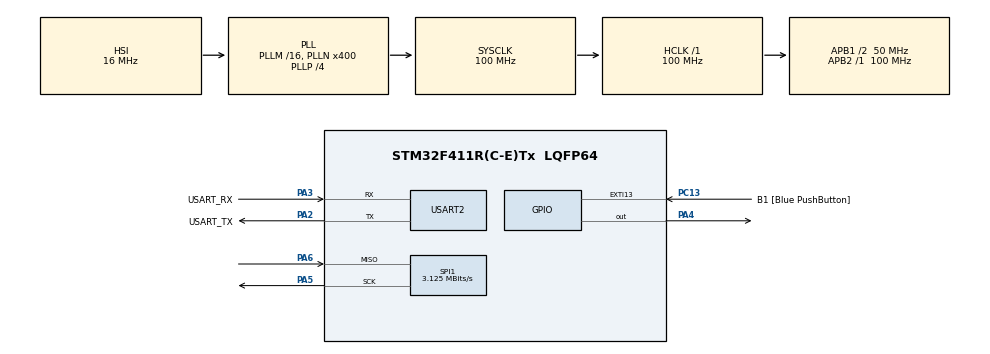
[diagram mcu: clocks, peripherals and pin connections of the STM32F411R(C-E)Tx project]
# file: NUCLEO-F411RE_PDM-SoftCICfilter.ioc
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Dma.Request0=SPI1_RX
Dma.SPI1_RX.0.Direction=DMA_PERIPH_TO_MEMORY
Dma.SPI1_RX.0.FIFOMode=DMA_FIFOMODE_DISABLE
Dma.SPI1_RX.0.Instance=DMA2_Stream0
Dma.SPI1_RX.0.MemDataAlignment=DMA_MDATAALIGN_BYTE
Dma.SPI1_RX.0.MemInc=DMA_MINC_ENABLE
Dma.SPI1_RX.0.Mode=DMA_CIRCULAR
Dma.SPI1_RX.0.PeriphDataAlignment=DMA_PDATAALIGN_BYTE
Dma.SPI1_RX.0.PeriphInc=DMA_PINC_DISABLE
Dma.SPI1_RX.0.Priority=DMA_PRIORITY_VERY_HIGH
Mcu.Family=STM32F4
Mcu.Name=STM32F411R(C-E)Tx
Mcu.Package=LQFP64
NVIC.DMA2_Stream0_IRQn=true\:0\:0\:false\:false\:true
NVIC.PriorityGroup=NVIC_PRIORITYGROUP_0
NVIC.SPI1_IRQn=true\:0\:0\:false\:false\:true
PA13.GPIO_Label=TMS
PA13.Signal=SYS_JTMS-SWDIO
PA14.GPIO_Label=TCK
PA14.Signal=SYS_JTCK-SWCLK
PA2.GPIO_Label=USART_TX
PA2.Mode=Asynchronous
PA2.Signal=USART2_TX
PA3.GPIO_Label=USART_RX
PA3.Mode=Asynchronous
PA3.Signal=USART2_RX
PA4.GPIO_PuPd=GPIO_PULLDOWN
PA4.Signal=GPIO_Output
PA5.Mode=RX_Only_Simplex_Unidirect_Master
PA5.Signal=SPI1_SCK
PA6.Mode=RX_Only_Simplex_Unidirect_Master
PA6.Signal=SPI1_MISO
PB3.GPIO_Label=SWO
PB3.Signal=SYS_JTDO-SWO
PC13-ANTI_TAMP.GPIO_Label=B1 [Blue PushButton]
PC13-ANTI_TAMP.GPIO_ModeDefaultEXTI=GPIO_MODE_IT_FALLING
PC13-ANTI_TAMP.Signal=GPXTI13
PC14-OSC32_IN.Signal=RCC_OSC32_IN
PC15-OSC32_OUT.Signal=RCC_OSC32_OUT
PH0\ -\ OSC_IN.Signal=RCC_OSC_IN
PH1\ -\ OSC_OUT.Signal=RCC_OSC_OUT
ProjectManager.HeapSize=0x200
ProjectManager.StackSize=0x400
ProjectManager.TargetToolchain=SW4STM32
RCC.48MHZClocksFreq_Value=100000000
RCC.AHBFreq_Value=100000000
RCC.APB1CLKDivider=RCC_HCLK_DIV2
RCC.APB1Freq_Value=50000000
RCC.APB1TimFreq_Value=100000000
RCC.APB2Freq_Value=100000000
RCC.APB2TimFreq_Value=100000000
RCC.CortexFreq_Value=100000000
RCC.FLatency-AdvancedSettings=FLASH_LATENCY_3
RCC.HCLKFreq_Value=100000000
RCC.HSE_VALUE=8000000
RCC.HSI_VALUE=16000000
RCC.LSE_VALUE=32768
RCC.PLLN=400
RCC.PLLP=RCC_PLLP_DIV4
RCC.PLLSourceVirtual=RCC_PLLSOURCE_HSI
RCC.SYSCLKFreq_VALUE=100000000
RCC.SYSCLKSource=RCC_SYSCLKSOURCE_PLLCLK
RCC.VCOOutputFreq_Value=400000000
SPI1.BaudRatePrescaler=SPI_BAUDRATEPRESCALER_32
SPI1.CalculateBaudRate=3.125 MBits/s
SPI1.Direction=SPI_DIRECTION_2LINES_RXONLY
SPI1.FirstBit=SPI_FIRSTBIT_LSB
SPI1.Mode=SPI_MODE_MASTER
SPI1.VirtualType=VM_MASTER
USART2.VirtualMode=VM_ASYNC
board=NUCLEO-F411RE

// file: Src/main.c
/**
  ******************************************************************************
  * File Name          : main.c
  * Description        : Main program body
  ******************************************************************************
  ** This notice applies to any and all portions of this file
  * that are not between comment pairs USER CODE BEGIN and
  * USER CODE END. Other portions of this file, whether
  * inserted by the user or by software development tools
  * are owned by their respective copyright owners.
  *
  * COPYRIGHT(c) 2017 STMicroelectronics
  *
  * Redistribution and use in source and binary forms, with or without modification,
  * are permitted provided that the following conditions are met:
  *   1. Redistributions of source code must retain the above copyright notice,
  *      this list of conditions and the following disclaimer.
  *   2. Redistributions in binary form must reproduce the above copyright notice,
  *      this list of conditions and the following disclaimer in the documentation
  *      and/or other materials provided with the distribution.
  *   3. Neither the name of STMicroelectronics nor the names of its contributors
  *      may be used to endorse or promote products derived from this software
  *      without specific prior written permission.
  *
  * THIS SOFTWARE IS PROVIDED BY THE COPYRIGHT HOLDERS AND CONTRIBUTORS "AS IS"
  * AND ANY EXPRESS OR IMPLIED WARRANTIES, INCLUDING, BUT NOT LIMITED TO, THE
  * IMPLIED WARRANTIES OF MERCHANTABILITY AND FITNESS FOR A PARTICULAR PURPOSE ARE
  * DISCLAIMED. IN NO EVENT SHALL THE COPYRIGHT HOLDER OR CONTRIBUTORS BE LIABLE
  * FOR ANY DIRECT, INDIRECT, INCIDENTAL, SPECIAL, EXEMPLARY, OR CONSEQUENTIAL
  * DAMAGES (INCLUDING, BUT NOT LIMITED TO, PROCUREMENT OF SUBSTITUTE GOODS OR
  * SERVICES; LOSS OF USE, DATA, OR PROFITS; OR BUSINESS INTERRUPTION) HOWEVER
  * CAUSED AND ON ANY THEORY OF LIABILITY, WHETHER IN CONTRACT, STRICT LIABILITY,
  * OR TORT (INCLUDING NEGLIGENCE OR OTHERWISE) ARISING IN ANY WAY OUT OF THE USE
  * OF THIS SOFTWARE, EVEN IF ADVISED OF THE POSSIBILITY OF SUCH DAMAGE.
  *
  ******************************************************************************
  */
#include "main.h"
#include "stm32f4xx_hal.h"
#include "dma.h"
#include "spi.h"
#include "usart.h"
#include "gpio.h"

/* USER CODE BEGIN Includes */
#include "math.h"
#include "arm_math.h"
/* USER CODE END Includes */

/* USER CODE BEGIN PV */
/* Private variables ---------------------------------------------------------*/
#define FFT_AC_COUPLING_HZ  1000.0f

arm_rfft_fast_instance_f32 S;
float FFT_SampleRate;
int32_t FFT_inp_int32[PDM_SAMPLE_SIZE] = {0};
float FFT_inp[PDM_SAMPLE_SIZE] = {0.0f};
float FFT_oup[PDM_SAMPLE_SIZE] = {0.0f};
float FFT_mag[PDM_SAMPLE_SIZE/2] = {0.0f};
float FFT_dB[PDM_SAMPLE_SIZE/2] = {0.0f};
float FFT_frq[PDM_SAMPLE_SIZE/2] = {0.0f};
float FFT_window[PDM_SAMPLE_SIZE] = {0.0f};
/* USER CODE END PV */

void SystemClock_Config(void);

/* USER CODE BEGIN PFP */
/* Private function prototypes -----------------------------------------------*/

/* USER CODE END PFP */

int main(void)
{

  /* MCU Configuration----------------------------------------------------------*/

  /* Reset of all peripherals, Initializes the Flash interface and the Systick. */
  HAL_Init();

  /* Configure the system clock */
  SystemClock_Config();

  /* Initialize all configured peripherals */
  MX_GPIO_Init();
  MX_DMA_Init();
  MX_SPI1_Init();
  MX_USART2_UART_Init();

  /* USER CODE BEGIN 2 */
    printf("\r\n***** Program start *****\r\n");

    // Initialize
    needs_CopyPDMbits = false;
    initializeCicFilterStruct(/* Order = */3, DECIMATION_M, &PDM_st);
    startPDM();
    HAL_NVIC_DisableIRQ(DMA2_Stream0_IRQn);
    HAL_NVIC_DisableIRQ(SPI1_IRQn);

    // FFT init
    float SPI1_BaudRate = (float)SystemCoreClock / 1.0f / 32.0f;
    FFT_SampleRate = SPI1_BaudRate / DECIMATION_M;

    // Hanning window
    const float tmp = 2.0f * M_PI / (float) PDM_SAMPLE_SIZE;
    for (uint32_t i = 0; i < PDM_SAMPLE_SIZE; i++)
        *(FFT_window + i) = 0.5f - 0.5f * arm_cos_f32((float) i * tmp);

    for (uint32_t i = 0; i < PDM_SAMPLE_SIZE / 2; i++)
        *(FFT_frq + i) = (float) i * (float) FFT_SampleRate / (float) PDM_SAMPLE_SIZE;

    arm_rfft_fast_init_f32(&S, PDM_SAMPLE_SIZE);

    HAL_Delay(1000);
  /* USER CODE END 2 */

  /* Infinite loop */
  /* USER CODE BEGIN WHILE */
  while (1)
    {
        HAL_NVIC_EnableIRQ(DMA2_Stream0_IRQn);
        HAL_NVIC_EnableIRQ(SPI1_IRQn);
        isCalled_PDM_DMA_Callback = false;
        needs_CopyPDMbits = true;
        while (isCalled_PDM_DMA_Callback == false);

        // Software CIC Filter
        executeCicFilter((uint8_t*) PDM_RawBits, PDM_SAMPLE_SIZE * DECIMATION_M,
                (int32_t*) PDM_Filtered_int32, &PDM_st);

        // Data copy
        for (uint32_t i = 0; i < PDM_SAMPLE_SIZE; i++)
            FFT_inp[i] = (float) PDM_Filtered_int32[i];

        // Windowing
        arm_mult_f32(FFT_inp, FFT_window, FFT_inp, PDM_SAMPLE_SIZE);

        // Execute FFT
        arm_rfft_fast_f32(&S, FFT_inp, FFT_oup, 0);

        // calculate magnitude
        arm_cmplx_mag_f32(FFT_oup, FFT_mag, PDM_SAMPLE_SIZE / 2);

        // Normalization of magnitude
        arm_scale_f32(FFT_mag, 1.0f / sqrtf((float) PDM_SAMPLE_SIZE), FFT_mag, PDM_SAMPLE_SIZE / 2);

        // AC coupling
        for (uint32_t i = 0; i < PDM_SAMPLE_SIZE / 2; i++)
        {
            if (*(FFT_frq + i) < FFT_AC_COUPLING_HZ)
                FFT_mag[i] = 1.0f;
            else
                break;
        }

        float inv_dB_base_mag = 1.0f / 1.0f;
        for (uint32_t i = 0; i < PDM_SAMPLE_SIZE / 2; i++)
            FFT_dB[i] = 10.0f * log10f(FFT_mag[i] * inv_dB_base_mag);

        // calc max mag
        float mag_max, frq_max;
        uint32_t maxIndex;
        arm_max_f32(FFT_mag, PDM_SAMPLE_SIZE / 2, &mag_max, &maxIndex);
        frq_max = *(FFT_frq + maxIndex);

        printf("\r\nSampleRate=%d, frq_max = %.1f, mag_max = %f\r\n", (int) FFT_SampleRate, frq_max, mag_max);
        for (uint32_t i = 0; i < PDM_SAMPLE_SIZE / 2; i++)
        {
            printf("%.1f\t%f\r\n", FFT_frq[i], FFT_dB[i]);
        }

        //while(1);
        HAL_NVIC_DisableIRQ(DMA2_Stream0_IRQn);
        HAL_NVIC_DisableIRQ(SPI1_IRQn);
        HAL_Delay(1000);
  /* USER CODE END WHILE */

  }

}

/** System Clock Configuration
*/
void SystemClock_Config(void)
{

  RCC_OscInitTypeDef RCC_OscInitStruct;
  RCC_ClkInitTypeDef RCC_ClkInitStruct;

    /**Configure the main internal regulator output voltage
    */
  __HAL_RCC_PWR_CLK_ENABLE();

  __HAL_PWR_VOLTAGESCALING_CONFIG(PWR_REGULATOR_VOLTAGE_SCALE1);

    /**Initializes the CPU, AHB and APB busses clocks
    */
  RCC_OscInitStruct.OscillatorType = RCC_OSCILLATORTYPE_HSI;
  RCC_OscInitStruct.HSIState = RCC_HSI_ON;
  RCC_OscInitStruct.HSICalibrationValue = 16;
  RCC_OscInitStruct.PLL.PLLState = RCC_PLL_ON;
  RCC_OscInitStruct.PLL.PLLSource = RCC_PLLSOURCE_HSI;
  RCC_OscInitStruct.PLL.PLLM = 16;
  RCC_OscInitStruct.PLL.PLLN = 400;
  RCC_OscInitStruct.PLL.PLLP = RCC_PLLP_DIV4;
  RCC_OscInitStruct.PLL.PLLQ = 4;
  if (HAL_RCC_OscConfig(&RCC_OscInitStruct) != HAL_OK)
  {
    _Error_Handler(__FILE__, __LINE__);
  }

    /**Initializes the CPU, AHB and APB busses clocks
    */
  RCC_ClkInitStruct.ClockType = RCC_CLOCKTYPE_HCLK|RCC_CLOCKTYPE_SYSCLK
                              |RCC_CLOCKTYPE_PCLK1|RCC_CLOCKTYPE_PCLK2;
  RCC_ClkInitStruct.SYSCLKSource = RCC_SYSCLKSOURCE_PLLCLK;
  RCC_ClkInitStruct.AHBCLKDivider = RCC_SYSCLK_DIV1;
  RCC_ClkInitStruct.APB1CLKDivider = RCC_HCLK_DIV2;
  RCC_ClkInitStruct.APB2CLKDivider = RCC_HCLK_DIV1;

  if (HAL_RCC_ClockConfig(&RCC_ClkInitStruct, FLASH_LATENCY_3) != HAL_OK)
  {
    _Error_Handler(__FILE__, __LINE__);
  }

    /**Configure the Systick interrupt time
    */
  HAL_SYSTICK_Config(HAL_RCC_GetHCLKFreq()/1000);

    /**Configure the Systick
    */
  HAL_SYSTICK_CLKSourceConfig(SYSTICK_CLKSOURCE_HCLK);

  /* SysTick_IRQn interrupt configuration */
  HAL_NVIC_SetPriority(SysTick_IRQn, 0, 0);
}

void _Error_Handler(char * file, int line)
{
  while(1)
  {
  }
}

/************************ (C) COPYRIGHT STMicroelectronics *****END OF FILE****/
